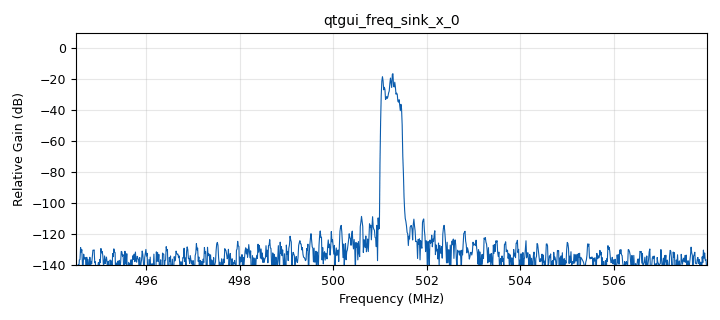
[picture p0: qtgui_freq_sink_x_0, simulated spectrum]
<?xml version='1.0' encoding='utf-8'?>
<?grc format='1' created='3.7.10'?>
<flow_graph>
<block>
<key>options</key>
<param><key>id</key><value>top_block</value></param>
<param><key>category</key><value>Custom</value></param>
<param><key>generate_options</key><value>qt_gui</value></param>
</block>
<block>
<key>variable</key>
<param><key>id</key><value>audio_offset_freq</value></param>
<param><key>value</key><value>6.5e6</value></param>
</block>
<block>
<key>variable</key>
<param><key>id</key><value>audio_rate</value></param>
<param><key>value</key><value>int(44100)</value></param>
</block>
<block>
<key>variable_qtgui_range</key>
<param><key>id</key><value>center_freq</value></param>
<param><key>value</key><value>501.25e6</value></param>
<param><key>orient</key><value>Qt.Horizontal</value></param>
<param><key>start</key><value>450.25e6</value></param>
<param><key>step</key><value>0.125e6</value></param>
<param><key>stop</key><value>890.25e6</value></param>
</block>
<block>
<key>variable_qtgui_range</key>
<param><key>id</key><value>chrom_amp</value></param>
<param><key>value</key><value>0.5</value></param>
<param><key>orient</key><value>Qt.Horizontal</value></param>
<param><key>start</key><value>0</value></param>
<param><key>step</key><value>0.1</value></param>
<param><key>stop</key><value>5</value></param>
</block>
<block>
<key>variable</key>
<param><key>id</key><value>digital_gain</value></param>
<param><key>value</key><value>0.8</value></param>
</block>
<block>
<key>variable</key>
<param><key>id</key><value>if_gain</value></param>
<param><key>value</key><value>48</value></param>
</block>
<block>
<key>variable</key>
<param><key>id</key><value>offset_freq</value></param>
<param><key>value</key><value>4.43361875e6</value></param>
</block>
<block>
<key>variable</key>
<param><key>id</key><value>rf_gain</value></param>
<param><key>value</key><value>14</value></param>
</block>
<block>
<key>variable</key>
<param><key>id</key><value>samp_rate</value></param>
<param><key>value</key><value>int(13.5e6)</value></param>
</block>
<block>
<key>analog_sig_source_x</key>
<param><key>id</key><value>analog_sig_source_x_0</value></param>
<param><key>amp</key><value>1</value></param>
<param><key>freq</key><value>1e3</value></param>
<param><key>offset</key><value>0</value></param>
<param><key>type</key><value>float</value></param>
<param><key>samp_rate</key><value>audio_rate</value></param>
<param><key>waveform</key><value>analog.GR_COS_WAVE</value></param>
</block>
<block>
<key>analog_sig_source_x</key>
<param><key>id</key><value>analog_sig_source_x_0_0_0</value></param>
<param><key>amp</key><value>chrom_amp</value></param>
<param><key>_enabled</key><value>0</value></param>
<param><key>freq</key><value>offset_freq/2</value></param>
<param><key>offset</key><value>0</value></param>
<param><key>type</key><value>complex</value></param>
<param><key>samp_rate</key><value>samp_rate</value></param>
<param><key>waveform</key><value>analog.GR_COS_WAVE</value></param>
</block>
<block>
<key>analog_sig_source_x</key>
<param><key>id</key><value>analog_sig_source_x_0_0_0_0</value></param>
<param><key>amp</key><value>0.8</value></param>
<param><key>_enabled</key><value>0</value></param>
<param><key>freq</key><value>-offset_freq/2</value></param>
<param><key>offset</key><value>0</value></param>
<param><key>type</key><value>complex</value></param>
<param><key>samp_rate</key><value>samp_rate</value></param>
<param><key>waveform</key><value>analog.GR_COS_WAVE</value></param>
</block>
<block>
<key>analog_sig_source_x</key>
<param><key>id</key><value>analog_sig_source_x_1</value></param>
<param><key>amp</key><value>0.1</value></param>
<param><key>_enabled</key><value>0</value></param>
<param><key>freq</key><value>audio_offset_freq-offset_freq/2</value></param>
<param><key>offset</key><value>0</value></param>
<param><key>type</key><value>complex</value></param>
<param><key>samp_rate</key><value>samp_rate</value></param>
<param><key>waveform</key><value>analog.GR_COS_WAVE</value></param>
</block>
<block>
<key>analog_wfm_tx</key>
<param><key>id</key><value>analog_wfm_tx_0</value></param>
<param><key>audio_rate</key><value>audio_rate</value></param>
<param><key>max_dev</key><value>50e3</value></param>
<param><key>fh</key><value>-1.0</value></param>
<param><key>quad_rate</key><value>10*audio_rate</value></param>
<param><key>tau</key><value>75e-6</value></param>
</block>
<block>
<key>blocks_add_xx</key>
<param><key>id</key><value>blocks_add_xx_0_0</value></param>
<param><key>_enabled</key><value>0</value></param>
<param><key>type</key><value>complex</value></param>
</block>
<block>
<key>blocks_file_source</key>
<param><key>id</key><value>blocks_file_source_0_0_0</value></param>
<param><key>_enabled</key><value>0</value></param>
<param><key>file</key><value>/home/marble/Documents/SDR/uv.out</value></param>
<param><key>type</key><value>complex</value></param>
<param><key>repeat</key><value>True</value></param>
</block>
<block>
<key>blocks_file_source</key>
<param><key>id</key><value>blocks_file_source_0_1</value></param>
<param><key>_enabled</key><value>0</value></param>
<param><key>file</key><value>/home/marble/Documents/SDR/y.out</value></param>
<param><key>type</key><value>complex</value></param>
<param><key>repeat</key><value>True</value></param>
</block>
<block>
<key>blocks_multiply_xx</key>
<param><key>id</key><value>blocks_multiply_xx_0</value></param>
<param><key>_enabled</key><value>0</value></param>
<param><key>type</key><value>complex</value></param>
</block>
<block>
<key>blocks_multiply_xx</key>
<param><key>id</key><value>blocks_multiply_xx_0_0_0</value></param>
<param><key>_enabled</key><value>0</value></param>
<param><key>type</key><value>complex</value></param>
</block>
<block>
<key>blocks_multiply_xx</key>
<param><key>id</key><value>blocks_multiply_xx_0_0_0_0</value></param>
<param><key>_enabled</key><value>0</value></param>
<param><key>type</key><value>complex</value></param>
</block>
<block>
<key>blocks_sub_xx</key>
<param><key>id</key><value>blocks_sub_xx_0</value></param>
<param><key>_enabled</key><value>0</value></param>
<param><key>type</key><value>complex</value></param>
</block>
<block>
<key>osmosdr_sink</key>
<param><key>id</key><value>osmosdr_sink_0</value></param>
<param><key>bb_gain0</key><value>24</value></param>
<param><key>freq0</key><value>center_freq</value></param>
<param><key>if_gain0</key><value>if_gain</value></param>
<param><key>gain0</key><value>rf_gain</value></param>
<param><key>args</key><value>hackrf=0</value></param>
<param><key>type</key><value>fc32</value></param>
<param><key>sample_rate</key><value>samp_rate</value></param>
</block>
<block>
<key>qtgui_freq_sink_x</key>
<param><key>id</key><value>qtgui_freq_sink_x_0</value></param>
<param><key>bw</key><value>samp_rate</value></param>
<param><key>fc</key><value>center_freq</value></param>
<param><key>fftsize</key><value>1024</value></param>
<param><key>showports</key><value>True</value></param>
<param><key>type</key><value>complex</value></param>
<param><key>wintype</key><value>firdes.WIN_BLACKMAN_hARRIS</value></param>
</block>
<block>
<key>rational_resampler_xxx</key>
<param><key>id</key><value>rational_resampler_xxx_0_0</value></param>
<param><key>decim</key><value>10*audio_rate</value></param>
<param><key>interp</key><value>samp_rate</value></param>
<param><key>taps</key><value></value></param>
<param><key>type</key><value>ccc</value></param>
</block>
<connection><source_block_id>analog_sig_source_x_0</source_block_id><sink_block_id>analog_wfm_tx_0</sink_block_id><source_key>0</source_key><sink_key>0</sink_key></connection>
<connection><source_block_id>analog_sig_source_x_0_0_0</source_block_id><sink_block_id>blocks_multiply_xx_0_0_0</sink_block_id><source_key>0</source_key><sink_key>1</sink_key></connection>
<connection><source_block_id>analog_sig_source_x_0_0_0_0</source_block_id><sink_block_id>blocks_multiply_xx_0_0_0_0</sink_block_id><source_key>0</source_key><sink_key>0</sink_key></connection>
<connection><source_block_id>analog_sig_source_x_0_0_0_0</source_block_id><sink_block_id>blocks_sub_xx_0</sink_block_id><source_key>0</source_key><sink_key>0</sink_key></connection>
<connection><source_block_id>analog_sig_source_x_1</source_block_id><sink_block_id>blocks_multiply_xx_0</sink_block_id><source_key>0</source_key><sink_key>0</sink_key></connection>
<connection><source_block_id>analog_wfm_tx_0</source_block_id><sink_block_id>rational_resampler_xxx_0_0</sink_block_id><source_key>0</source_key><sink_key>0</sink_key></connection>
<connection><source_block_id>blocks_add_xx_0_0</source_block_id><sink_block_id>osmosdr_sink_0</sink_block_id><source_key>0</source_key><sink_key>0</sink_key></connection>
<connection><source_block_id>blocks_add_xx_0_0</source_block_id><sink_block_id>qtgui_freq_sink_x_0</sink_block_id><source_key>0</source_key><sink_key>0</sink_key></connection>
<connection><source_block_id>blocks_file_source_0_0_0</source_block_id><sink_block_id>blocks_multiply_xx_0_0_0</sink_block_id><source_key>0</source_key><sink_key>0</sink_key></connection>
<connection><source_block_id>blocks_file_source_0_1</source_block_id><sink_block_id>blocks_multiply_xx_0_0_0_0</sink_block_id><source_key>0</source_key><sink_key>1</sink_key></connection>
<connection><source_block_id>blocks_multiply_xx_0</source_block_id><sink_block_id>osmosdr_sink_0</sink_block_id><source_key>0</source_key><sink_key>0</sink_key></connection>
<connection><source_block_id>blocks_multiply_xx_0</source_block_id><sink_block_id>qtgui_freq_sink_x_0</sink_block_id><source_key>0</source_key><sink_key>0</sink_key></connection>
<connection><source_block_id>blocks_multiply_xx_0_0_0</source_block_id><sink_block_id>blocks_add_xx_0_0</sink_block_id><source_key>0</source_key><sink_key>1</sink_key></connection>
<connection><source_block_id>blocks_multiply_xx_0_0_0_0</source_block_id><sink_block_id>blocks_sub_xx_0</sink_block_id><source_key>0</source_key><sink_key>1</sink_key></connection>
<connection><source_block_id>blocks_sub_xx_0</source_block_id><sink_block_id>blocks_add_xx_0_0</sink_block_id><source_key>0</source_key><sink_key>0</sink_key></connection>
<connection><source_block_id>rational_resampler_xxx_0_0</source_block_id><sink_block_id>osmosdr_sink_0</sink_block_id><source_key>0</source_key><sink_key>0</sink_key></connection>
<connection><source_block_id>rational_resampler_xxx_0_0</source_block_id><sink_block_id>qtgui_freq_sink_x_0</sink_block_id><source_key>0</source_key><sink_key>0</sink_key></connection>
</flow_graph>
